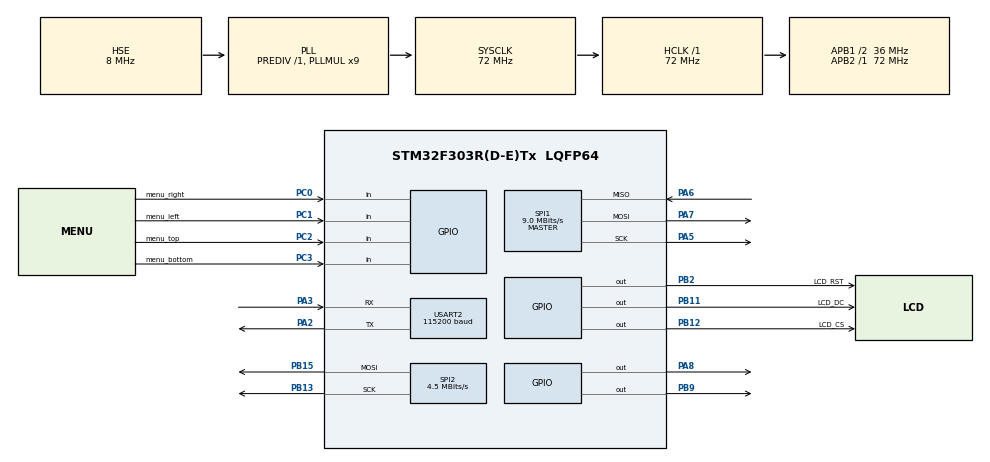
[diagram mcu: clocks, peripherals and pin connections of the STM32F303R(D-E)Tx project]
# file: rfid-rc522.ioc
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Mcu.Family=STM32F3
Mcu.Name=STM32F303R(D-E)Tx
Mcu.Package=LQFP64
NVIC.PriorityGroup=NVIC_PRIORITYGROUP_0
PA13.Mode=Serial_Wire
PA13.Signal=SYS_JTMS-SWDIO
PA14.Mode=Serial_Wire
PA14.Signal=SYS_JTCK-SWCLK
PA2.Mode=Asynchronous
PA2.Signal=USART2_TX
PA3.Mode=Asynchronous
PA3.Signal=USART2_RX
PA5.Mode=Full_Duplex_Master
PA5.Signal=SPI1_SCK
PA6.Mode=Full_Duplex_Master
PA6.Signal=SPI1_MISO
PA7.Mode=Full_Duplex_Master
PA7.Signal=SPI1_MOSI
PA8.Signal=GPIO_Output
PB11.GPIO_Label=LCD_DC
PB11.Signal=GPIO_Output
PB12.GPIO_Label=LCD_CS
PB12.Signal=GPIO_Output
PB13.Mode=TX_Only_Simplex_Unidirect_Master
PB13.Signal=SPI2_SCK
PB15.Mode=TX_Only_Simplex_Unidirect_Master
PB15.Signal=SPI2_MOSI
PB2.GPIO_Label=LCD_RST
PB2.Signal=GPIO_Output
PB9.Signal=GPIO_Output
PC0.GPIO_Label=menu_right
PC0.Signal=GPIO_Input
PC1.GPIO_Label=menu_left
PC1.Signal=GPIO_Input
PC2.GPIO_Label=menu_top
PC2.Signal=GPIO_Input
PC3.GPIO_Label=menu_bottom
PC3.Signal=GPIO_Input
PF0-OSC_IN.Mode=HSE-External-Oscillator
PF0-OSC_IN.Signal=RCC_OSC_IN
PF1-OSC_OUT.Mode=HSE-External-Oscillator
PF1-OSC_OUT.Signal=RCC_OSC_OUT
ProjectManager.HeapSize=0x200
ProjectManager.StackSize=0x400
ProjectManager.TargetToolchain=STM32CubeIDE
RCC.AHBFreq_Value=72000000
RCC.APB1CLKDivider=RCC_HCLK_DIV2
RCC.APB1Freq_Value=36000000
RCC.APB1TimFreq_Value=72000000
RCC.APB2Freq_Value=72000000
RCC.APB2TimFreq_Value=72000000
RCC.CortexFreq_Value=72000000
RCC.HCLKFreq_Value=72000000
RCC.HSE_VALUE=8000000
RCC.HSI_VALUE=8000000
RCC.LSE_VALUE=32768
RCC.PLLM=8
RCC.PLLMUL=RCC_PLL_MUL9
RCC.PLLN=336
RCC.PLLP=RCC_PLLP_DIV4
RCC.PLLQ=7
RCC.PLLSourceVirtual=RCC_PLLSOURCE_HSE
RCC.RCC_PLLsource_Clock_Source_FROM_HSE=RCC_HSE_PREDIV_DIV2
RCC.SYSCLKFreq_VALUE=72000000
RCC.SYSCLKSourceVirtual=RCC_SYSCLKSOURCE_PLLCLK
RCC.USBFreq_Value=72000000
SPI1.BaudRatePrescaler=SPI_BAUDRATEPRESCALER_8
SPI1.CalculateBaudRate=9.0 MBits/s
SPI1.DataSize=SPI_DATASIZE_8BIT
SPI1.Direction=SPI_DIRECTION_2LINES
SPI1.Mode=SPI_MODE_MASTER
SPI1.VirtualType=VM_MASTER
SPI2.BaudRatePrescaler=SPI_BAUDRATEPRESCALER_8
SPI2.CalculateBaudRate=4.5 MBits/s
SPI2.DataSize=SPI_DATASIZE_8BIT
SPI2.Direction=SPI_DIRECTION_2LINES
SPI2.Mode=SPI_MODE_MASTER
SPI2.NSSPMode=SPI_NSS_PULSE_DISABLE
SPI2.VirtualType=VM_MASTER
USART2.BaudRate=115200
USART2.VirtualMode-Asynchronous=VM_ASYNC
board=NUCLEO-F303RE

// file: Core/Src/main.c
/* USER CODE BEGIN Header */
/**
  ******************************************************************************
  * @file           : main.c
  * @brief          : Main program body
  ******************************************************************************
  * @attention
  *
  * Copyright (c) 2026 STMicroelectronics.
  * All rights reserved.
  *
  * This software is licensed under terms that can be found in the LICENSE file
  * in the root directory of this software component.
  * If no LICENSE file comes with this software, it is provided AS-IS.
  *
  ******************************************************************************
  */
/* USER CODE END Header */
#include "main.h"

/* USER CODE BEGIN Includes */
#include "RC522.h"
#include "string.h"
#include "lcd.h"
#include "lcd_text.h"
#include "lcd_background.h"
#include "lcd_run.h"
#include "table_of_cards.h"
/* USER CODE END Includes */

SPI_HandleTypeDef hspi1;
SPI_HandleTypeDef hspi2;

UART_HandleTypeDef huart2;

void SystemClock_Config(void);
static void MX_GPIO_Init(void);
static void MX_USART2_UART_Init(void);
static void MX_SPI1_Init(void);
static void MX_SPI2_Init(void);

/* USER CODE BEGIN 0 */

void HAL_SPI_TxCpltCallback(SPI_HandleTypeDef *hspi)				// funkcja, która zostanie automatycznie wywołana po zakończeniu transmisji przez SPI.
{
	if (hspi == &hspi1)
	{
		lcd_transfer_done();
	}
}
/* USER CODE END 0 */

int main(void)
{

  /* MCU Configuration--------------------------------------------------------*/

  /* Reset of all peripherals, Initializes the Flash interface and the Systick. */
  HAL_Init();

  /* Configure the system clock */
  SystemClock_Config();

  /* Initialize all configured peripherals */
  MX_GPIO_Init();
  MX_USART2_UART_Init();
  MX_SPI1_Init();
  MX_SPI2_Init();
  /* USER CODE BEGIN 2 */
  MFRC522_Init();
  /* USER CODE END 2 */

  /* Infinite loop */
  /* USER CODE BEGIN WHILE */

  lcd_init();
  lcd_draw_background();

  while (1)
  {
    /* USER CODE END WHILE */

    /* USER CODE BEGIN 3 */
	  Read_data_from_rfid();
	  show_cards();
  }
  /* USER CODE END 3 */
}

void SystemClock_Config(void)
{
  RCC_OscInitTypeDef RCC_OscInitStruct = {0};
  RCC_ClkInitTypeDef RCC_ClkInitStruct = {0};
  RCC_PeriphCLKInitTypeDef PeriphClkInit = {0};

  /** Initializes the RCC Oscillators according to the specified parameters
  * in the RCC_OscInitTypeDef structure.
  */
  RCC_OscInitStruct.OscillatorType = RCC_OSCILLATORTYPE_HSE;
  RCC_OscInitStruct.HSEState = RCC_HSE_ON;
  RCC_OscInitStruct.HSIState = RCC_HSI_ON;
  RCC_OscInitStruct.PLL.PLLState = RCC_PLL_ON;
  RCC_OscInitStruct.PLL.PLLSource = RCC_PLLSOURCE_HSE;
  RCC_OscInitStruct.PLL.PLLMUL = RCC_PLL_MUL9;
  RCC_OscInitStruct.PLL.PREDIV = RCC_PREDIV_DIV1;
  if (HAL_RCC_OscConfig(&RCC_OscInitStruct) != HAL_OK)
  {
    Error_Handler();
  }

  /** Initializes the CPU, AHB and APB buses clocks
  */
  RCC_ClkInitStruct.ClockType = RCC_CLOCKTYPE_HCLK|RCC_CLOCKTYPE_SYSCLK
                              |RCC_CLOCKTYPE_PCLK1|RCC_CLOCKTYPE_PCLK2;
  RCC_ClkInitStruct.SYSCLKSource = RCC_SYSCLKSOURCE_PLLCLK;
  RCC_ClkInitStruct.AHBCLKDivider = RCC_SYSCLK_DIV1;
  RCC_ClkInitStruct.APB1CLKDivider = RCC_HCLK_DIV2;
  RCC_ClkInitStruct.APB2CLKDivider = RCC_HCLK_DIV1;

  if (HAL_RCC_ClockConfig(&RCC_ClkInitStruct, FLASH_LATENCY_2) != HAL_OK)
  {
    Error_Handler();
  }
  PeriphClkInit.PeriphClockSelection = RCC_PERIPHCLK_USART2;
  PeriphClkInit.Usart2ClockSelection = RCC_USART2CLKSOURCE_PCLK1;
  if (HAL_RCCEx_PeriphCLKConfig(&PeriphClkInit) != HAL_OK)
  {
    Error_Handler();
  }
}

static void MX_SPI1_Init(void)
{

  /* SPI1 parameter configuration*/
  hspi1.Instance = SPI1;
  hspi1.Init.Mode = SPI_MODE_MASTER;
  hspi1.Init.Direction = SPI_DIRECTION_2LINES;
  hspi1.Init.DataSize = SPI_DATASIZE_8BIT;
  hspi1.Init.CLKPolarity = SPI_POLARITY_LOW;
  hspi1.Init.CLKPhase = SPI_PHASE_1EDGE;
  hspi1.Init.NSS = SPI_NSS_SOFT;
  hspi1.Init.BaudRatePrescaler = SPI_BAUDRATEPRESCALER_8;
  hspi1.Init.FirstBit = SPI_FIRSTBIT_MSB;
  hspi1.Init.TIMode = SPI_TIMODE_DISABLE;
  hspi1.Init.CRCCalculation = SPI_CRCCALCULATION_DISABLE;
  hspi1.Init.CRCPolynomial = 7;
  hspi1.Init.CRCLength = SPI_CRC_LENGTH_DATASIZE;
  hspi1.Init.NSSPMode = SPI_NSS_PULSE_ENABLE;
  if (HAL_SPI_Init(&hspi1) != HAL_OK)
  {
    Error_Handler();
  }

}

static void MX_SPI2_Init(void)
{

  /* SPI2 parameter configuration*/
  hspi2.Instance = SPI2;
  hspi2.Init.Mode = SPI_MODE_MASTER;
  hspi2.Init.Direction = SPI_DIRECTION_2LINES;
  hspi2.Init.DataSize = SPI_DATASIZE_8BIT;
  hspi2.Init.CLKPolarity = SPI_POLARITY_LOW;
  hspi2.Init.CLKPhase = SPI_PHASE_1EDGE;
  hspi2.Init.NSS = SPI_NSS_SOFT;
  hspi2.Init.BaudRatePrescaler = SPI_BAUDRATEPRESCALER_8;
  hspi2.Init.FirstBit = SPI_FIRSTBIT_MSB;
  hspi2.Init.TIMode = SPI_TIMODE_DISABLE;
  hspi2.Init.CRCCalculation = SPI_CRCCALCULATION_DISABLE;
  hspi2.Init.CRCPolynomial = 7;
  hspi2.Init.CRCLength = SPI_CRC_LENGTH_DATASIZE;
  hspi2.Init.NSSPMode = SPI_NSS_PULSE_DISABLE;
  if (HAL_SPI_Init(&hspi2) != HAL_OK)
  {
    Error_Handler();
  }

}

static void MX_USART2_UART_Init(void)
{

  huart2.Instance = USART2;
  huart2.Init.BaudRate = 115200;
  huart2.Init.WordLength = UART_WORDLENGTH_8B;
  huart2.Init.StopBits = UART_STOPBITS_1;
  huart2.Init.Parity = UART_PARITY_NONE;
  huart2.Init.Mode = UART_MODE_TX_RX;
  huart2.Init.HwFlowCtl = UART_HWCONTROL_NONE;
  huart2.Init.OverSampling = UART_OVERSAMPLING_16;
  huart2.Init.OneBitSampling = UART_ONE_BIT_SAMPLE_DISABLE;
  huart2.AdvancedInit.AdvFeatureInit = UART_ADVFEATURE_NO_INIT;
  if (HAL_UART_Init(&huart2) != HAL_OK)
  {
    Error_Handler();
  }

}

static void MX_GPIO_Init(void)
{
  GPIO_InitTypeDef GPIO_InitStruct = {0};

  /* GPIO Ports Clock Enable */
  __HAL_RCC_GPIOF_CLK_ENABLE();
  __HAL_RCC_GPIOC_CLK_ENABLE();
  __HAL_RCC_GPIOA_CLK_ENABLE();
  __HAL_RCC_GPIOB_CLK_ENABLE();

  /*Configure GPIO pin Output Level */
  HAL_GPIO_WritePin(GPIOB, LCD_RST_Pin|LCD_DC_Pin|LCD_CS_Pin|GPIO_PIN_9, GPIO_PIN_RESET);

  /*Configure GPIO pin Output Level */
  HAL_GPIO_WritePin(GPIOA, GPIO_PIN_8, GPIO_PIN_RESET);

  /*Configure GPIO pins : menu_right_Pin menu_left_Pin menu_top_Pin menu_bottom_Pin */
  GPIO_InitStruct.Pin = menu_right_Pin|menu_left_Pin|menu_top_Pin|menu_bottom_Pin;
  GPIO_InitStruct.Mode = GPIO_MODE_INPUT;
  GPIO_InitStruct.Pull = GPIO_NOPULL;
  HAL_GPIO_Init(GPIOC, &GPIO_InitStruct);

  /*Configure GPIO pins : LCD_RST_Pin LCD_DC_Pin LCD_CS_Pin PB9 */
  GPIO_InitStruct.Pin = LCD_RST_Pin|LCD_DC_Pin|LCD_CS_Pin|GPIO_PIN_9;
  GPIO_InitStruct.Mode = GPIO_MODE_OUTPUT_PP;
  GPIO_InitStruct.Pull = GPIO_NOPULL;
  GPIO_InitStruct.Speed = GPIO_SPEED_FREQ_LOW;
  HAL_GPIO_Init(GPIOB, &GPIO_InitStruct);

  /*Configure GPIO pin : PA8 */
  GPIO_InitStruct.Pin = GPIO_PIN_8;
  GPIO_InitStruct.Mode = GPIO_MODE_OUTPUT_PP;
  GPIO_InitStruct.Pull = GPIO_NOPULL;
  GPIO_InitStruct.Speed = GPIO_SPEED_FREQ_LOW;
  HAL_GPIO_Init(GPIOA, &GPIO_InitStruct);

}

void Error_Handler(void)
{
  __disable_irq();
  while (1)
  {
  }
}
